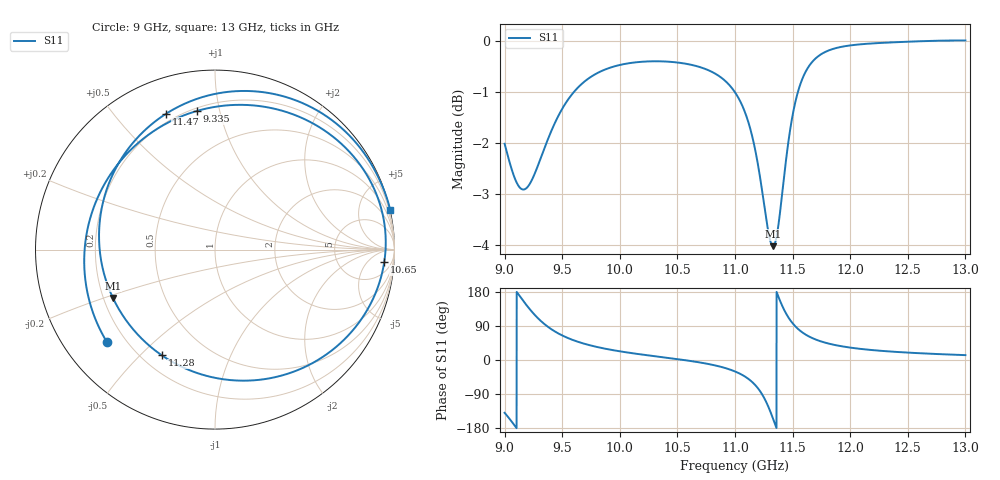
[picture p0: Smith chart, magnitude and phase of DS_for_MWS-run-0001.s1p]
! TOUCHSTONE file generated by CST DESIGN STUDIO
! Date and time: Tue Feb  4 16:19:19 2025
! Project name: C:\Work\MatlabApps\UnitCellOptimizationMatlab\CST\unitcell.cst
! Tree item: Tasks\Sweep1\SPara1\S-Parameters
! Header version: 2024
! Port assignment regex: !\s*Touchstone port\s*([0-9]+)\s*=\s*(CST MWS port|CST DES external port|CST DES block port)\s*(.+)\s* \(\"(.*)\"\)(\s*mode\s*([0-9]+))?.*
! Touchstone port assignment:
! Touchstone port 1 = CST DES external port 1 ("")
# GHz S MA R 50
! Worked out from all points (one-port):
!   4001 points, 9 GHz to 13 GHz, reference 50 ohm
!   lowest |S11| = -4.0 dB at 11.33 GHz (marker M1), VSWR 4.39, Z = 11.9 - j10.6 ohm
!   |S11| at or under -10 dB: nowhere
!   S11 on the Smith chart (normalised r, x): 9 GHz: 0.13, -0.36; 9.335 GHz: 0.22, +0.85; 10.65 GHz: 13, -17; 11.28 GHz: 0.28, -0.58; 11.47 GHz: 0.16, +0.69; 13 GHz: -0.03, +8.88
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9  0.7926 -139.4
9.076  0.7397 -168.4
9.142  0.7163 164.2
9.238  0.731 127.0
9.335  0.7789 97.5
9.5  0.8577 64.8
9.712  0.9156 41.2
10  0.9468 22.9
10.5  0.9521 2.3
10.648  0.9456 -4.1
10.857  0.9242 -16.4
11  0.8902 -30.2
11.082  0.8537 -42.8
11.15  0.8056 -58.3
11.224  0.7271 -85.1
11.28  0.6593 -116.7
11.33  0.6292 -154.7
11.361  0.6429 179.7
11.391  0.6791 156.2
11.431  0.7443 129.6
11.469  0.8044 109.8
11.5  0.8453 97.0
11.589  0.9202 71.9
11.69  0.9587 55.3
11.82  0.9791 42.8
12  0.9896 32.7
12.5  0.9979 19.5
13  1.001 12.8
